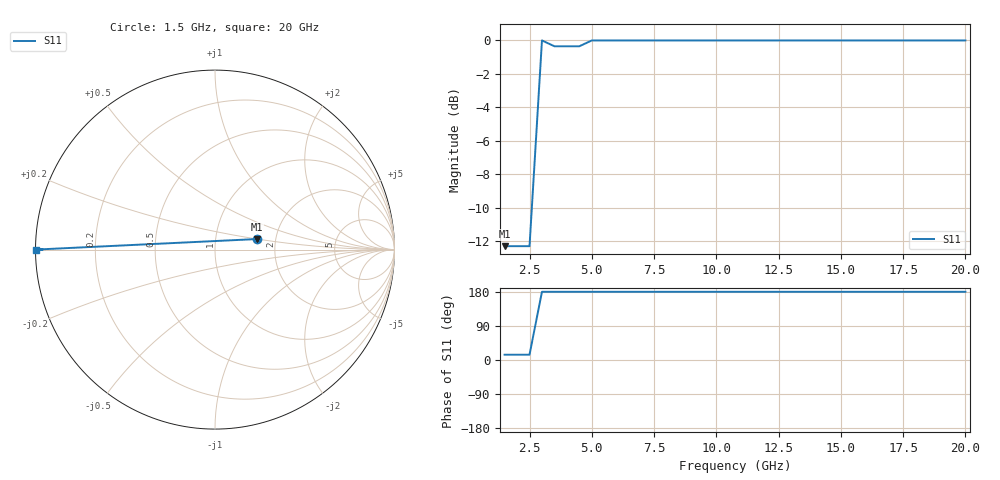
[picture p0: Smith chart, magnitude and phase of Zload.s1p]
# GHz S RI 50
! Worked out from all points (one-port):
!   9 points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, 1.5 GHz to 20 GHz, reference 50 ohm
!   lowest |S11| = -12.3 dB at 1.5 GHz (marker M1), VSWR 1.64, Z = 80 + j10 ohm
!   |S11| at or under -10 dB: start of sweep to 2.594 GHz
1.5  0.2353 0.0588
2  0.2353 0.0588
2.5  0.2353 0.0588
3  -1 0
3.5  -0.9608 0
4.5  -0.9608 0
5  -1 0
10  -1 0
20  -1 0
